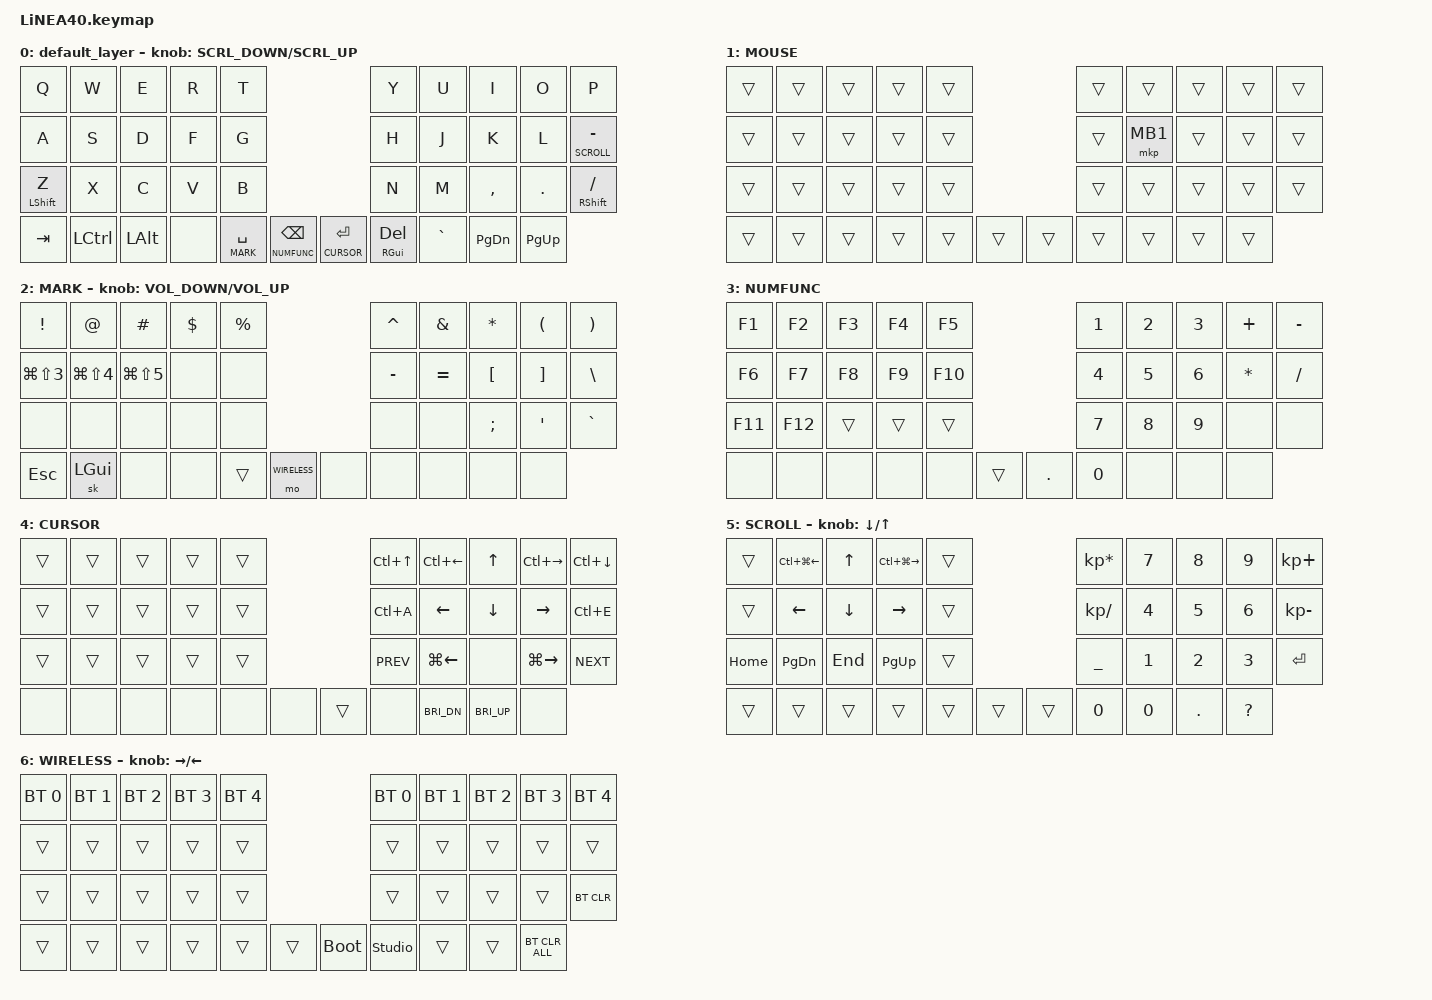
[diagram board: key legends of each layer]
#define ZMK_POINTING_DEFAULT_SCRL_VAL 150

#include <dt-bindings/zmk/input_transform.h>
#include <input/processors.dtsi>
#include <zephyr/dt-bindings/input/input-event-codes.h>
#include <behaviors.dtsi>
#include <dt-bindings/zmk/bt.h>
#include <dt-bindings/zmk/keys.h>
#include <dt-bindings/zmk/pointing.h>

#define MOUSE 1
#define MARK 2
#define NUMFUNC 3
#define CURSOR 4
#define SCROLL 5
#define WIRELESS 6

//mouse cursol

&mmv {
    delay-ms = <20>;
    trigger-period-ms = <5>;
    time-to-max-speed-ms = <100>;
    acceleration-exponent = <2>;
};

//mouse scroll

&msc {
    delay-ms = <3>;
    trigger-period-ms = <3>;
    time-to-max-speed-ms = <100>;
    acceleration-exponent = <0>;
};

/ {
    input_processors {
        zip_wheel_scaler: zip_wheel_scaler {
            compatible = "zmk,input-processor-scaler";
            #input-processor-cells = <2>;
            type = <INPUT_EV_REL>;
            codes = <INPUT_REL_WHEEL>;
            track-remainders;
        };
    };
};

&msc_input_listener {
    speed_up {
        layers = <CURSOR>;
        input-processors = <&zip_wheel_scaler 3 1>; //スクロールを3倍速にする
    };
};

&trackball_listener {
    input-processors = <&zip_temp_layer MOUSE 1500>;

    scroller {
        layers = <SCROLL>;
        input-processors =
            <&zip_xy_transform INPUT_TRANSFORM_Y_INVERT>,
            //スクロール方向を逆転
            <&zip_xy_to_scroll_mapper>;
    };
};

&lt {
    tapping-term-ms = <200>;
    quick-tap-ms = <200>;
    flavor = "tap-preferred";
};

&mt {
    tapping-term-ms = <200>;
    quick-tap-ms = <200>;
    flavor = "tap-preferred";
};

/ {
    combos {
        compatible = "zmk,combos";

        ZenkakuHankaku {
            bindings = <&kp GRAVE>;
            key-positions = <11 12>;
        };

        DeleteKey {
            bindings = <&kp DEL>;
            key-positions = <7 8>;
        };

        InsertKey {
            bindings = <&kp INS>;
            key-positions = <6 7>;
        };

        CenterClick {
            bindings = <&mkp MB3>;
            key-positions = <17 16>;
        };

        RightClick {
            bindings = <&mkp MB2>;
            key-positions = <18 17>;
        };

        PrevClick {
            bindings = <&mkp MB4>;
            key-positions = <27 28>;
        };

        ClickNext {
            bindings = <&mkp MB5>;
            key-positions = <26 27>;
        };

        BootLoader {
            bindings = <&bootloader>;
            key-positions = <4 8 24>;
        };
    };

    behaviors {
        re_kp: sensor_rotate_kp {
            compatible = "zmk,behavior-sensor-rotate-var";
            #sensor-binding-cells = <2>;
            bindings = <&kp>, <&kp>;
        };

        mouse_scrl: mouse_wheel_scrl {
            compatible = "zmk,behavior-sensor-rotate-var";
            #sensor-binding-cells = <2>;
            bindings = <&msc>, <&msc>;

            tap-ms = <20>;
        };
    };

    keymap {
        compatible = "zmk,keymap";

        default_layer {
            bindings = <
&kp Q             &kp W       &kp E        &kp R                  &kp T                                                    &kp Y              &kp U            &kp I          &kp O         &kp P
&kp A             &kp S       &kp D        &kp F                  &kp G                                                    &kp H              &kp J            &kp K          &kp L         &lt SCROLL MINUS
&mt LEFT_SHIFT Z  &kp X       &kp C        &kp V                  &kp B                                                    &kp N              &kp M            &kp COMMA      &kp DOT       &mt RIGHT_SHIFT SLASH
&kp TAB           &kp LCTRL       &kp LALT  &none                  &lt MARK SPACE     &lt NUMFUNC BACKSPACE    &lt CURSOR ENTER  &mt RGUI DEL                   &kp GRAVE      &kp PAGE_DOWN &kp PAGE_UP
            >;

            sensor-bindings = <&mouse_scrl SCRL_DOWN SCRL_UP>;
        };

        //1  トラックボール操作で自動的に有効(AML) ※LiNEA40デフォルトのまま

        MOUSE {
            bindings = <
&trans  &trans  &trans  &trans  &trans                    &trans  &trans    &trans  &trans  &trans
&trans  &trans  &trans  &trans  &trans                    &trans  &mkp MB1  &trans  &trans  &trans
&trans  &trans  &trans  &trans  &trans                    &trans  &trans    &trans  &trans  &trans
&trans  &trans  &trans  &trans  &trans  &trans    &trans  &trans            &trans  &trans  &trans
            >;
        };

        //2  記号レイヤー  左親指 SPACE 長押しで呼出

        MARK {
            bindings = <
&kp EXCL          &kp AT            &kp HASH          &kp DOLLAR  &kp PERCENT                    &kp CARET  &kp AMPS   &kp ASTERISK  &kp LPAR       &kp RPAR
&kp LG(LS(N3))    &kp LG(LS(N4))    &kp LG(LS(N5))    &none       &none                          &kp MINUS  &kp EQUAL  &kp LBKT      &kp RBKT       &kp BSLH
&none             &none             &none             &none       &none                          &none      &none      &kp SEMI      &kp SQT        &kp GRAVE
&kp ESC           &sk LGUI          &none             &none       &trans        &mo WIRELESS     &none      &none                    &none          &none         &none
            >;

            sensor-bindings = <&re_kp C_VOLUME_DOWN C_VOLUME_UP>;
        };

        //3  ファンクション+テンキー  左親指 BACKSPACE 長押しで呼出

        NUMFUNC {
            bindings = <
&kp F1   &kp F2   &kp F3  &kp F4   &kp F5                     &kp N1  &kp N2  &kp N3  &kp PLUS      &kp MINUS
&kp F6   &kp F7   &kp F8  &kp F9   &kp F10                    &kp N4  &kp N5  &kp N6  &kp ASTERISK  &kp SLASH
&kp F11  &kp F12  &trans  &trans   &trans                     &kp N7  &kp N8  &kp N9  &none         &none
&none    &none    &none   &none    &none   &trans    &kp DOT  &kp N0          &none   &none         &none
            >;
        };

        //4  カーソル/ナビゲーション  右親指 ENTER 長押しで呼出

        CURSOR {
            bindings = <
&trans  &trans  &trans  &trans  &trans                    &kp LC(UP)    &kp LC(LEFT)   &kp UP    &kp LC(RIGHT)  &kp LC(DOWN)
&trans  &trans  &trans  &trans  &trans                    &kp LC(A)     &kp LEFT       &kp DOWN  &kp RIGHT      &kp LC(E)
&trans  &trans  &trans  &trans  &trans                    &kp C_PREV    &kp LG(LEFT)   &none     &kp LG(RIGHT)  &kp C_NEXT
&none   &none   &none   &none   &none   &none    &trans  &none                         &kp C_BRI_DN  &kp C_BRI_UP  &none
            >;
        };

        //5  スクロール(トラックボール)  ※LiNEA40デフォルトのまま

        SCROLL {
            bindings = <
&trans    &kp LC(LG(LEFT_ARROW))  &kp UP_ARROW  &kp LC(LG(RIGHT_ARROW))  &trans                    &kp KP_MULTIPLY  &kp NUMBER_7  &kp NUMBER_8  &kp NUMBER_9  &kp KP_PLUS
&trans    &kp LEFT_ARROW          &kp DOWN      &kp RIGHT_ARROW          &trans                    &kp KP_SLASH     &kp NUMBER_4  &kp NUMBER_5  &kp NUMBER_6  &kp KP_MINUS
&kp HOME  &kp PAGE_DOWN           &kp END       &kp PAGE_UP              &trans                    &kp UNDER        &kp NUMBER_1  &kp NUMBER_2  &kp NUMBER_3  &kp ENTER
&trans    &trans                  &trans        &trans                   &trans  &trans    &trans  &kp NUMBER_0                   &kp NUMBER_0  &kp DOT       &kp QUESTION
            >;

            sensor-bindings = <&inc_dec_kp DOWN_ARROW UP_ARROW>;
        };

        //6  無線/システム

        WIRELESS {
            bindings = <
&bt BT_SEL 0  &bt BT_SEL 1  &bt BT_SEL 2  &bt BT_SEL 3  &bt BT_SEL 4                         &bt BT_SEL 0    &bt BT_SEL 1  &bt BT_SEL 2  &bt BT_SEL 3  &bt BT_SEL 4
&trans        &trans        &trans        &trans        &trans                               &trans          &trans        &trans        &trans        &trans
&trans        &trans        &trans        &trans        &trans                               &trans          &trans        &trans        &trans        &bt BT_CLR
&trans        &trans        &trans        &trans        &trans        &trans    &bootloader  &studio_unlock                &trans        &trans        &bt BT_CLR_ALL
            >;

            sensor-bindings = <&inc_dec_kp RIGHT_ARROW LEFT_ARROW>;
        };
    };
};
